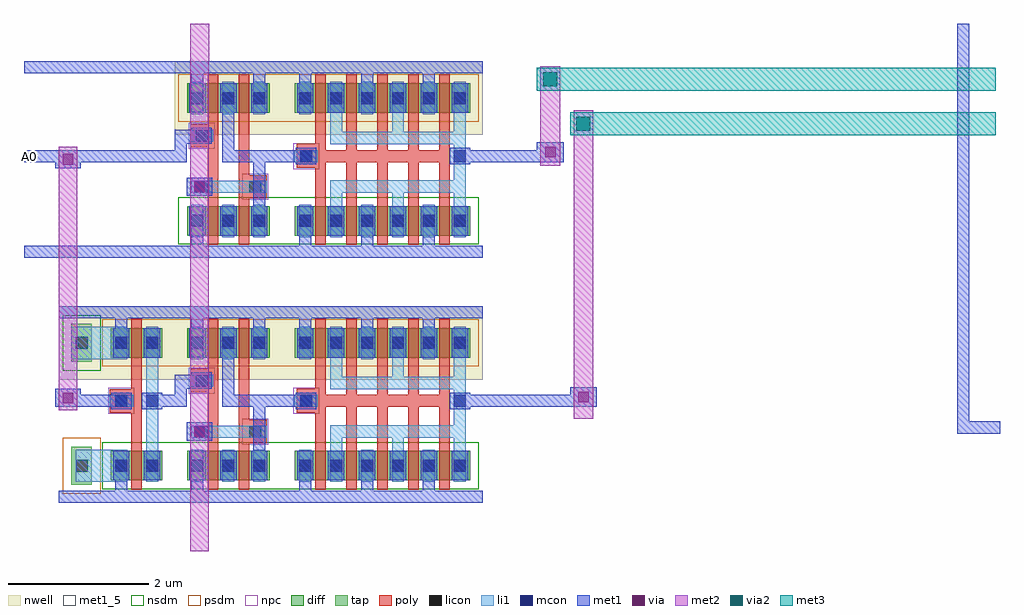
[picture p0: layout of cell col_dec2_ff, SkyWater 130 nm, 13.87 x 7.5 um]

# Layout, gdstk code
import gdstk
lib = gdstk.Library(unit=1e-6, precision=1e-09)
def R(c, l, rs):  # rectangles x0, y0, x1, y1
    for r in rs: c.add(gdstk.rectangle(r[:2], r[2:], *l))
def A(c, l, x, y, w, h, nx, ny, dx, dy):  # array of equal rectangles
    R(c, l, [(x+i*dx, y+j*dy, x+i*dx+w, y+j*dy+h) for i in range(nx) for j in range(ny)])
nwell = (64, 20)
diff = (65, 20)
tap = (65, 44)
poly = (66, 20)
licon = (66, 44)
li1 = (67, 20)
mcon = (67, 44)
met1_5 = (68, 5)
met1 = (68, 20)
via = (68, 44)
met2 = (69, 20)
via2 = (69, 44)
met3 = (70, 20)
nsdm = (93, 44)
psdm = (94, 20)
npc = (95, 20)

col_dec2_ff = lib.new_cell('col_dec2_ff')
R(col_dec2_ff, nwell, [(0.495,2.44,6.52,3.48), (2.14,5.92,6.52,6.96)])
R(col_dec2_ff, diff, [(1.235,1.005,1.965,1.425), (2.32,1.005,3.49,1.425), (3.85,1.005,6.34,1.425), (1.235,2.75,1.965,3.17), (2.32,2.75,3.49,3.17), (3.85,2.75,6.34,3.17), (2.32,4.485,3.49,4.905), (3.85,4.485,6.34,4.905), (2.32,6.23,3.49,6.65), (3.85,6.23,6.34,6.65)])
R(col_dec2_ff, tap, [(0.675,0.945,0.965,1.485), (0.675,2.69,0.965,3.23)])
A(col_dec2_ff, poly, 4.58, 0.875, 0.15, 1.175, 4, 2, 0.44, 3.48)
A(col_dec2_ff, poly, 4.58, 2.22, 0.15, 1.08, 4, 2, 0.44, 3.48)
R(col_dec2_ff, poly, [(1.525,0.875,1.675,1.97), (2.61,0.875,2.76,2.26), (3.05,0.875,3.2,1.535), (4.14,0.875,4.29,1.97), (3.05,1.535,3.45,1.865), (3.05,1.865,3.2,3.3), (1.22,1.97,1.675,2.3), (3.875,1.97,4.29,2.05), (3.875,2.05,6.05,2.22), (3.875,2.22,4.29,2.31), (2.36,2.26,2.76,2.59), (1.525,2.3,1.675,3.3), (4.14,2.31,4.29,3.3), (2.61,2.59,2.76,3.3), (2.61,4.355,2.76,5.74), (3.05,4.355,3.2,5.015), (4.14,4.355,4.29,5.45), (3.05,5.015,3.45,5.345), (3.05,5.345,3.2,6.78), (3.875,5.45,4.29,5.53), (3.875,5.53,6.05,5.7), (3.875,5.7,4.29,5.79), (2.36,5.74,2.76,6.07), (4.14,5.79,4.29,6.78), (2.61,6.07,2.76,6.78)])
A(col_dec2_ff, licon, 2.38, 1.13, 0.17, 0.17, 3, 2, 0.44, 1.745)
A(col_dec2_ff, licon, 3.91, 1.13, 0.17, 0.17, 6, 2, 0.44, 1.745)
A(col_dec2_ff, licon, 2.38, 4.61, 0.17, 0.17, 3, 2, 0.44, 1.745)
A(col_dec2_ff, licon, 3.91, 4.61, 0.17, 0.17, 6, 2, 0.44, 1.745)
R(col_dec2_ff, licon, [(0.735,1.13,0.905,1.3), (1.295,1.13,1.465,1.3), (1.735,1.13,1.905,1.3), (3.2,1.615,3.37,1.785), (1.3,2.05,1.47,2.22), (3.925,2.05,4.095,2.22), (2.44,2.34,2.61,2.51), (0.735,2.875,0.905,3.045), (1.295,2.875,1.465,3.045), (1.735,2.875,1.905,3.045), (3.2,5.095,3.37,5.265), (3.925,5.53,4.095,5.7), (2.44,5.82,2.61,5.99)])
A(col_dec2_ff, li1, 2.38, 0.985, 0.17, 0.46, 3, 2, 0.44, 1.745)
A(col_dec2_ff, li1, 3.91, 0.985, 0.17, 0.46, 3, 2, 0.88, 1.745)
A(col_dec2_ff, li1, 4.35, 0.985, 0.17, 0.63, 3, 2, 0.88, 3.48)
A(col_dec2_ff, li1, 4.35, 2.48, 0.17, 0.71, 3, 2, 0.88, 3.48)
A(col_dec2_ff, li1, 2.38, 4.465, 0.17, 0.46, 3, 2, 0.44, 1.745)
A(col_dec2_ff, li1, 3.91, 4.465, 0.17, 0.46, 3, 2, 0.88, 1.745)
R(col_dec2_ff, li1, [(0.735,0.985,1.465,1.445), (1.735,0.985,1.905,3.19), (2.38,1.615,3.45,1.785), (4.35,1.615,6.28,1.79), (6.11,1.79,6.28,2.305), (1.22,2.05,1.55,2.22), (3.84,2.05,4.175,2.22), (4.35,2.305,6.28,2.48), (2.36,2.34,2.69,2.51), (0.675,2.73,1.465,3.19), (2.38,5.095,3.45,5.265), (4.35,5.095,6.28,5.27), (6.11,5.27,6.28,5.785), (3.84,5.53,4.175,5.7), (4.35,5.785,6.28,5.96), (2.36,5.82,2.69,5.99)])
A(col_dec2_ff, mcon, 2.38, 1.13, 0.17, 0.17, 3, 2, 0.44, 1.745)
A(col_dec2_ff, mcon, 3.91, 1.13, 0.17, 0.17, 6, 2, 0.44, 1.745)
A(col_dec2_ff, mcon, 2.38, 4.61, 0.17, 0.17, 3, 2, 0.44, 1.745)
A(col_dec2_ff, mcon, 3.91, 4.61, 0.17, 0.17, 6, 2, 0.44, 1.745)
R(col_dec2_ff, mcon, [(1.295,1.13,1.465,1.3), (1.735,1.13,1.905,1.3), (2.44,1.615,2.61,1.785), (1.3,2.05,1.47,2.22), (1.735,2.05,1.905,2.22), (3.925,2.05,4.095,2.22), (6.11,2.05,6.28,2.22), (2.44,2.34,2.61,2.51), (1.295,2.875,1.465,3.045), (1.735,2.875,1.905,3.045), (2.44,5.095,2.61,5.265), (3.925,5.53,4.095,5.7), (6.11,5.53,6.28,5.7), (2.44,5.82,2.61,5.99)])
R(col_dec2_ff, met1_5, [(0,5.53,0.17,5.7)])
A(col_dec2_ff, met1, 3.91, 0.86, 0.17, 0.145, 3, 2, 0.88, 3.48)
A(col_dec2_ff, met1, 2.35, 1.005, 0.23, 0.42, 3, 2, 0.44, 1.745)
A(col_dec2_ff, met1, 3.88, 1.005, 0.23, 0.42, 6, 2, 0.44, 1.745)
A(col_dec2_ff, met1, 3.91, 3.17, 0.17, 0.14, 3, 2, 0.88, 3.48)
A(col_dec2_ff, met1, 2.35, 4.485, 0.23, 0.42, 3, 2, 0.44, 1.745)
A(col_dec2_ff, met1, 3.88, 4.485, 0.23, 0.42, 6, 2, 0.44, 1.745)
R(col_dec2_ff, met1, [(0.495,0.69,6.52,0.86), (1.295,0.86,1.465,1.005), (2.38,0.86,2.55,1.005), (1.265,1.005,1.495,1.425), (1.705,1.005,1.935,1.425), (3.26,1.425,3.43,2.05), (2.315,1.57,2.675,1.83), (13.26,1.67,13.87,1.845), (13.26,1.845,13.43,7.495), (1.24,2.02,1.53,2.05), (1.675,2.02,1.965,2.05), (3.865,2.02,4.155,2.05), (6.05,2.02,6.34,2.05), (0.445,2.05,1.53,2.22), (1.675,2.05,2.31,2.22), (2.82,2.05,4.155,2.22), (6.05,2.05,8.14,2.22), (0.445,2.22,0.805,2.31), (1.24,2.22,1.53,2.25), (1.675,2.22,1.965,2.25), (2.14,2.22,2.31,2.31), (2.82,2.22,2.99,2.75), (3.865,2.22,4.155,2.25), (6.05,2.22,6.34,2.25), (7.76,2.22,8.14,2.33), (2.14,2.31,2.67,2.51), (2.38,2.51,2.67,2.54), (1.265,2.75,1.495,3.17), (1.705,2.75,1.935,3.17), (1.295,3.17,1.465,3.31), (2.38,3.17,2.55,3.31), (3.26,3.17,3.43,3.31), (0.495,3.31,6.52,3.48), (0,4.17,6.52,4.34), (2.38,4.34,2.55,4.485), (3.26,4.905,3.43,5.53), (2.315,5.05,2.675,5.31), (0.445,5.44,0.805,5.53), (3.865,5.5,4.155,5.53), (6.05,5.5,6.34,5.53), (0,5.53,2.31,5.7), (2.82,5.53,4.155,5.7), (6.05,5.53,7.67,5.7), (2.14,5.7,2.31,5.79), (2.82,5.7,2.99,6.23), (3.865,5.7,4.155,5.73), (6.05,5.7,6.34,5.73), (7.29,5.7,7.67,5.81), (2.14,5.79,2.67,5.99), (2.38,5.99,2.67,6.02), (2.38,6.65,2.55,6.79), (3.26,6.65,3.43,6.79), (0,6.79,6.52,6.96)])
R(col_dec2_ff, via, [(2.42,1.625,2.57,1.775), (0.55,2.105,0.7,2.255), (7.875,2.115,8.025,2.265), (2.42,5.105,2.57,5.255), (0.55,5.495,0.7,5.645), (7.405,5.595,7.555,5.745)])
R(col_dec2_ff, met2, [(2.365,0,2.625,6.955), (7.81,1.88,8.09,6.265), (0.495,2,0.755,5.75), (7.34,5.48,7.62,6.895), (2.365,6.955,2.63,7.495)])
R(col_dec2_ff, via2, [(7.85,5.975,8.05,6.175), (7.38,6.605,7.58,6.805)])
R(col_dec2_ff, met3, [(7.76,5.91,13.81,6.24), (7.29,6.54,13.81,6.87)])
R(col_dec2_ff, nsdm, [(1.11,0.88,6.465,1.55), (0.55,2.565,1.09,3.355), (2.195,4.36,6.465,5.03)])
R(col_dec2_ff, psdm, [(0.55,0.82,1.09,1.61), (1.11,2.625,6.465,3.295), (2.195,6.105,6.465,6.775)])
R(col_dec2_ff, npc, [(3.1,1.515,3.47,1.885), (1.2,1.95,1.57,2.32), (3.825,1.95,4.195,2.32), (2.34,2.24,2.71,2.61), (3.1,4.995,3.47,5.365), (3.825,5.43,4.195,5.8), (2.34,5.72,2.71,6.09)])
col_dec2_ff.add(gdstk.Label('A0', (0.085,5.615), layer=68, texttype=5))

lib.write_gds('col_dec2_ff.gds')
